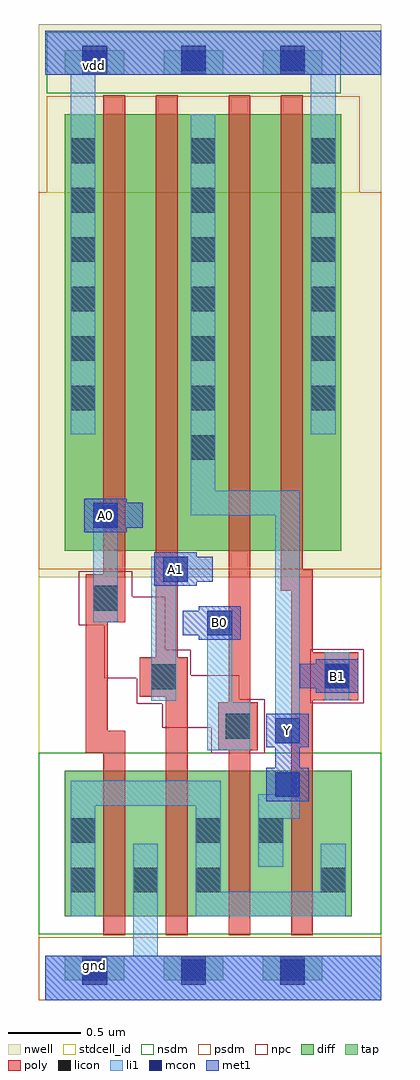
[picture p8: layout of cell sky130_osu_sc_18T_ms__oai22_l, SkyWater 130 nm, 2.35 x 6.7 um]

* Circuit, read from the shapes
.subckt sky130_osu_sc_18T_ms__oai22_l A0 A1 B0 B1 Y gnd vdd
XM1 gnd A0 n1 gnd sky130_fd_pr__nfet_01v8 w=1 l=0.15
XM2 n1 A1 gnd gnd sky130_fd_pr__nfet_01v8 w=1 l=0.15
XM3 Y B0 n1 gnd sky130_fd_pr__nfet_01v8 w=1 l=0.15
XM4 n1 B1 Y gnd sky130_fd_pr__nfet_01v8 w=1 l=0.15
XM5 n2 A0 vdd vdd sky130_fd_pr__pfet_01v8 w=3 l=0.15
XM6 Y A1 n2 vdd sky130_fd_pr__pfet_01v8 w=3 l=0.15
XM7 n3 B0 Y vdd sky130_fd_pr__pfet_01v8 w=3 l=0.15
XM8 vdd B1 n3 vdd sky130_fd_pr__pfet_01v8 w=3 l=0.15
.ends

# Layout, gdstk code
import gdstk
lib = gdstk.Library(unit=1e-6, precision=1e-09)
def R(c, l, rs):  # rectangles x0, y0, x1, y1
    for r in rs: c.add(gdstk.rectangle(r[:2], r[2:], *l))
def A(c, l, x, y, w, h, nx, ny, dx, dy):  # array of equal rectangles
    R(c, l, [(x+i*dx, y+j*dy, x+i*dx+w, y+j*dy+h) for i in range(nx) for j in range(ny)])
nwell = (64, 20)
diff = (65, 20)
tap = (65, 44)
poly = (66, 20)
licon = (66, 44)
li1 = (67, 20)
mcon = (67, 44)
met1 = (68, 20)
stdcell_id = (81, 4)
nsdm = (93, 44)
psdm = (94, 20)
npc = (95, 20)

sky130_osu_sc_18t_ms__oa = lib.new_cell('sky130_osu_sc_18T_ms__oai22_l')
R(sky130_osu_sc_18t_ms__oa, nwell, [(-0.045,2.905,2.31,6.705)])
R(sky130_osu_sc_18t_ms__oa, diff, [(0.135,0.575,2.105,1.575), (0.135,3.085,2.035,6.085)])
A(sky130_osu_sc_18t_ms__oa, tap, 0.135, 0.135, 0.41, 0.17, 3, 2, 0.68, 6.22)
R(sky130_osu_sc_18t_ms__oa, poly, [(0.4,0.445,0.55,1.7), (0.83,0.445,0.98,2.085), (1.26,0.445,1.41,1.715), (1.69,0.445,1.84,2.06), (0.28,1.7,0.55,1.85), (1.19,1.715,1.46,2.045), (0.28,1.85,0.43,2.595), (1.26,2.045,1.41,6.215), (1.69,2.06,2.15,2.39), (0.65,2.085,0.98,2.355), (0.76,2.355,0.91,6.215), (1.69,2.39,1.84,2.81), (0.28,2.595,0.55,2.925), (1.62,2.81,1.84,2.96), (0.4,2.925,0.55,6.215), (1.62,2.96,1.77,6.215)])
A(sky130_osu_sc_18t_ms__oa, licon, 0.255, 0.135, 0.17, 0.17, 3, 2, 0.68, 6.22)
A(sky130_osu_sc_18t_ms__oa, licon, 0.175, 0.74, 0.17, 0.17, 3, 1, 0.43, 0)
A(sky130_osu_sc_18t_ms__oa, licon, 0.175, 4.05, 0.17, 0.17, 3, 6, 0.825, 0.34)
R(sky130_osu_sc_18t_ms__oa, licon, [(1.895,0.74,2.065,0.91), (0.175,1.08,0.345,1.25), (1.035,1.08,1.205,1.25), (1.465,1.08,1.635,1.25), (1.24,1.795,1.41,1.965), (0.73,2.135,0.9,2.305), (1.92,2.14,2.09,2.31), (0.33,2.675,0.5,2.845), (1,3.71,1.17,3.88)])
R(sky130_osu_sc_18t_ms__oa, li1, [(0,0,2.31,0.305), (0.605,0.305,0.775,1.075), (0.175,0.575,0.345,1.335), (1.035,0.575,2.065,0.745), (1.035,0.745,1.205,1.335), (1.895,0.745,2.065,1.075), (1.465,0.915,1.635,1.245), (1.465,1.245,1.75,1.415), (0.175,1.335,1.205,1.505), (1.58,1.415,1.75,1.565), (1.115,1.715,1.41,2.045), (1.58,1.765,1.75,3.33), (1.115,2.045,1.285,2.675), (0.73,2.055,0.9,2.875), (1.92,2.06,2.09,2.39), (0.33,2.595,0.5,3.415), (0.73,2.875,0.98,3.045), (1,3.33,1.75,3.5), (1,3.5,1.17,6.085), (0.175,3.885,0.345,6.355), (1.825,3.885,1.995,6.355), (0,6.355,2.31,6.66)])
A(sky130_osu_sc_18t_ms__oa, mcon, 0.255, 0.105, 0.17, 0.17, 3, 2, 0.68, 6.28)
R(sky130_osu_sc_18t_ms__oa, mcon, [(1.58,1.395,1.75,1.565), (1.58,1.765,1.75,1.935), (1.92,2.14,2.09,2.31), (1.115,2.505,1.285,2.675), (0.81,2.875,0.98,3.045), (0.33,3.245,0.5,3.415)])
R(sky130_osu_sc_18t_ms__oa, met1, [(0,0,2.31,0.305), (1.52,1.365,1.81,1.595), (1.58,1.595,1.75,1.735), (1.52,1.735,1.81,1.965), (1.86,2.11,2.15,2.14), (1.75,2.14,2.15,2.31), (1.86,2.31,2.15,2.34), (1.055,2.475,1.345,2.505), (0.945,2.505,1.345,2.675), (1.055,2.675,1.345,2.705), (0.75,2.845,1.04,2.875), (0.75,2.875,1.15,3.045), (0.75,3.045,1.04,3.075), (0.27,3.215,0.56,3.245), (0.27,3.245,0.67,3.415), (0.27,3.415,0.56,3.445), (0,6.355,2.31,6.66)])
R(sky130_osu_sc_18t_ms__oa, stdcell_id, [(-0.045,0,2.31,5.55)])
R(sky130_osu_sc_18t_ms__oa, nsdm, [(-0.045,0.45,2.31,1.7), (0.01,6.23,2.03,6.65)])
R(sky130_osu_sc_18t_ms__oa, psdm, [(-0.045,0,2.31,0.43), (-0.045,2.96,2.31,5.55), (0.01,5.55,2.16,6.21)])
R(sky130_osu_sc_18t_ms__oa, npc, [(1.14,1.695,1.51,1.87), (0.805,1.87,1.51,2.035), (0.63,2.035,1.51,2.065), (1.82,2.04,2.19,2.41), (0.63,2.065,1.335,2.21), (0.405,2.21,1.335,2.23), (0.405,2.23,1,2.405), (0.405,2.405,0.825,2.575), (0.23,2.575,0.825,2.77), (0.23,2.77,0.6,2.945)])
sky130_osu_sc_18t_ms__oa.add(gdstk.Label('gnd', (0.34,0.24), layer=68, texttype=16))
sky130_osu_sc_18t_ms__oa.add(gdstk.Label('vdd', (0.34,6.42), layer=68, texttype=16))
sky130_osu_sc_18t_ms__oa.add(gdstk.Label('B0', (1.2,2.59), layer=68, texttype=5))
sky130_osu_sc_18t_ms__oa.add(gdstk.Label('A1', (0.895,2.96), layer=68, texttype=5))
sky130_osu_sc_18t_ms__oa.add(gdstk.Label('A0', (0.415,3.33), layer=68, texttype=5))
sky130_osu_sc_18t_ms__oa.add(gdstk.Label('Y', (1.665,1.85), layer=68, texttype=5))
sky130_osu_sc_18t_ms__oa.add(gdstk.Label('B1', (2.005,2.225), layer=68, texttype=5))

lib.write_gds('sky130_osu_sc_18T_ms__oai22_l.gds')
